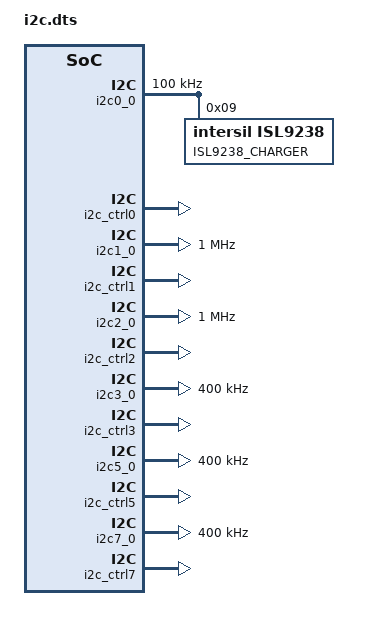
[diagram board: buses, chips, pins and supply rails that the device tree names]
/* Copyright 2022 The Chromium OS Authors. All rights reserved.
 * Use of this source code is governed by a BSD-style license that can be
 * found in the LICENSE file.
 */

/ {
	named-i2c-ports {
		compatible = "named-i2c-ports";

		i2c_power: power {
			i2c-port = <&i2c0_0>;
			enum-name = "I2C_PORT_POWER";
		};
		battery {
			i2c-port = <&i2c0_0>;
			remote-port = <0>;
			enum-name = "I2C_PORT_BATTERY";
		};
		virtual-battery {
			i2c-port = <&i2c0_0>;
			enum-name = "I2C_PORT_VIRTUAL_BATTERY";
		};
		charger {
			i2c-port = <&i2c0_0>;
			enum-name = "I2C_PORT_CHARGER";
		};
		i2c_tcpc0: tcpc0 {
			i2c-port = <&i2c1_0>;
			enum-name = "I2C_PORT_TCPC0";
		};
		i2c_tcpc1: tcpc1 {
			i2c-port = <&i2c2_0>;
			enum-name = "I2C_PORT_TCPC1";
		};
		i2c_eeprom: eeprom {
			i2c-port = <&i2c5_0>;
			enum-name = "I2C_PORT_EEPROM";
		};
		i2c_sensor: sensor {
			i2c-port = <&i2c7_0>;
			enum-name = "I2C_PORT_SENSOR";
		};
		accel {
			i2c-port = <&i2c7_0>;
			enum-name = "I2C_PORT_ACCEL";
		};
	};

};

&i2c0_0 {
	status = "okay";
	clock-frequency = <I2C_BITRATE_STANDARD>;

	isl9238: isl9238@9 {
		compatible = "intersil,isl9238";
		reg = <0x09>;
		label = "ISL9238_CHARGER";
	};
};

&i2c_ctrl0 {
	status = "okay";
};

&i2c1_0 {
	status = "okay";
	clock-frequency = <I2C_BITRATE_FAST_PLUS>;
};

&i2c_ctrl1 {
	status = "okay";
};

&i2c2_0 {
	status = "okay";
	clock-frequency = <I2C_BITRATE_FAST_PLUS>;
};

&i2c_ctrl2 {
	status = "okay";
};

&i2c3_0 {
	/* Not used as no WLC connected */
	clock-frequency = <I2C_BITRATE_FAST>;
};

&i2c_ctrl3 {
	status = "okay";
};

&i2c5_0 {
	status = "okay";
	clock-frequency = <I2C_BITRATE_FAST>;
};

&i2c_ctrl5 {
	status = "okay";
};

&i2c7_0 {
	status = "okay";
	clock-frequency = <I2C_BITRATE_FAST>;
};

&i2c_ctrl7 {
	status = "okay";
};
